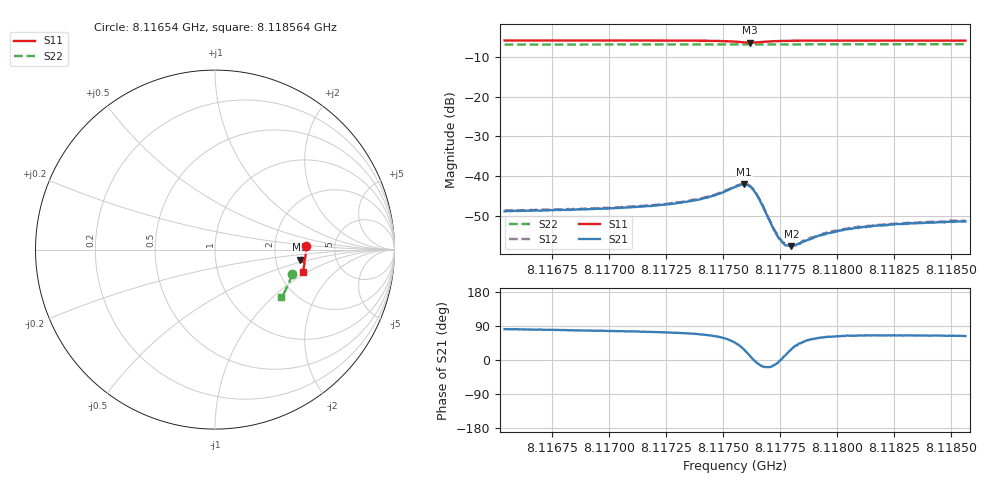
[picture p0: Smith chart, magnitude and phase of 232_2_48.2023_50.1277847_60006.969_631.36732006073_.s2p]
#  HZ  S  RI  R  50.00
! Rohde & Schwarz Vector Network Analyzer
! Rohde-Schwarz,ZNB20-2Port,1311601062101988,3.16
! Created: UTC 3/20/2024, 11:46:30 AM
! freq[Hz]  re:S11  im:S11  re:S21  im:S21  re:S12  im:S12  re:S22  im:S22
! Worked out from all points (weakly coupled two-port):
!   401 points, 8.11654 GHz to 8.118564 GHz, reference 50 ohm
!   highest |S21| = -42.11 dB at 8.117593 GHz (marker M1); lowest = -57.6 dB at 8.1178 GHz (marker M2)
!   lowest |S11| = -6.5 dB at 8.117618 GHz (marker M3), VSWR 2.81, Z = 137 - j20 ohm
!   |S11| at or under -10 dB: nowhere
!   |S22| runs from -6.9 to -6.8 dB; largest |S21 - S12| = 0.00021
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8.1165401e9  0.5065 0.018  0.000538 0.00356  0.000592 0.00366  0.4279 -0.1383
8.1168791e9  0.5063 -0.00801  0.000789 0.00375  0.000856 0.00381  0.4209 -0.161
8.1172182e9  0.5041 -0.0353  0.00124 0.00413  0.0013 0.00419  0.4128 -0.1834
8.1173194e9  0.5026 -0.044  0.00151 0.00437  0.00158 0.00445  0.4101 -0.1898
8.1174256e9  0.4994 -0.0546  0.00216 0.00488  0.00224 0.00492  0.4071 -0.1968
8.1174914e9  0.4951 -0.0618  0.00308 0.00527  0.0032 0.00535  0.405 -0.201
8.1175522e9  0.4855 -0.0676  0.00509 0.00521  0.00522 0.00527  0.4029 -0.2048
8.1175926e9  0.4755 -0.0642  0.00699 0.00355  0.00713 0.00357  0.4012 -0.2069
8.1176179e9  0.4723 -0.0563  0.00726 0.00136  0.00739 0.00133  0.4007 -0.2082
8.1176331e9  0.474 -0.0511  0.00667 9.89e-05  0.00681 5.8e-05  0.4003 -0.2089
8.1176534e9  0.4791 -0.047  0.00537 -0.000919  0.00544 -0.00104  0.3999 -0.21
8.1177242e9  0.4941 -0.0518  0.00202 -0.000491  0.00207 -0.000533  0.3985 -0.2145
8.1177444e9  0.4958 -0.0547  0.00165 -0.000124  0.00168 -0.000163  0.3979 -0.2158
8.1177698e9  0.4974 -0.0582  0.00134 0.000255  0.00138 0.000265  0.3972 -0.2176
8.1177849e9  0.4978 -0.0601  0.00126 0.000432  0.00129 0.00045  0.3968 -0.2186
8.1178001e9  0.4982 -0.0618  0.00115 0.000632  0.00119 0.000624  0.3964 -0.2196
8.1178204e9  0.4986 -0.0643  0.00105 0.000845  0.00112 0.000831  0.3959 -0.2208
8.1178912e9  0.4989 -0.0719  0.000929 0.00135  0.000935 0.00139  0.3934 -0.2252
8.1179519e9  0.4984 -0.0775  0.000919 0.00163  0.000966 0.00169  0.3914 -0.2292
8.1180329e9  0.4976 -0.0844  0.000938 0.0019  0.000951 0.00192  0.3889 -0.2343
8.1182302e9  0.4949 -0.1004  0.00103 0.0022  0.00106 0.00225  0.382 -0.2462
8.1185642e9  0.489 -0.1255  0.00121 0.0024  0.00126 0.00246  0.3696 -0.2662
